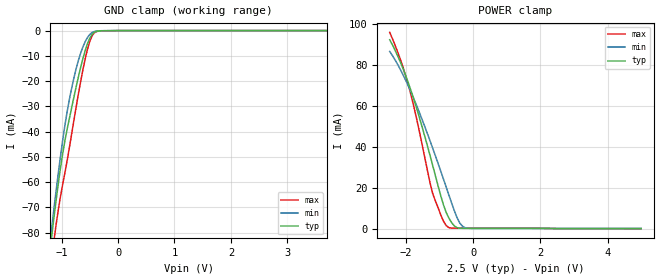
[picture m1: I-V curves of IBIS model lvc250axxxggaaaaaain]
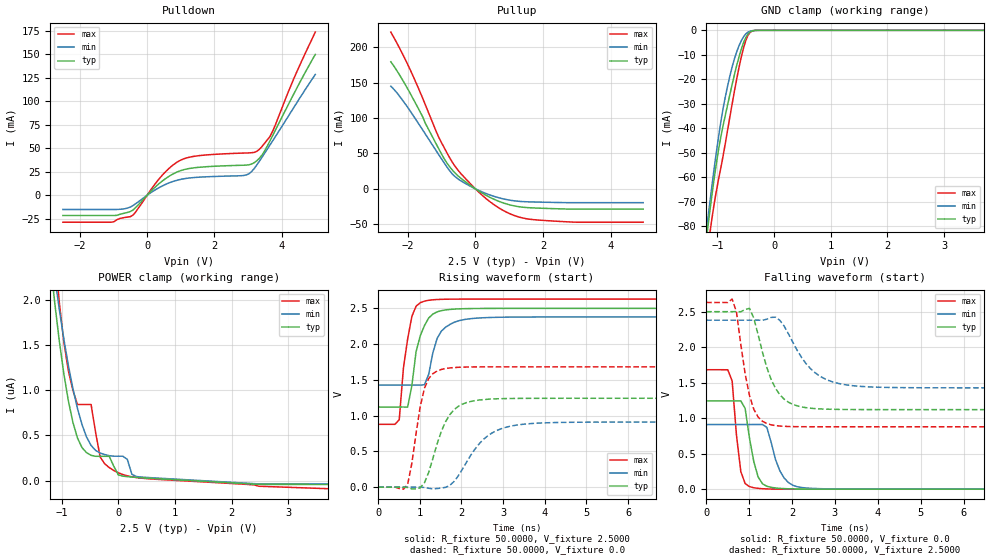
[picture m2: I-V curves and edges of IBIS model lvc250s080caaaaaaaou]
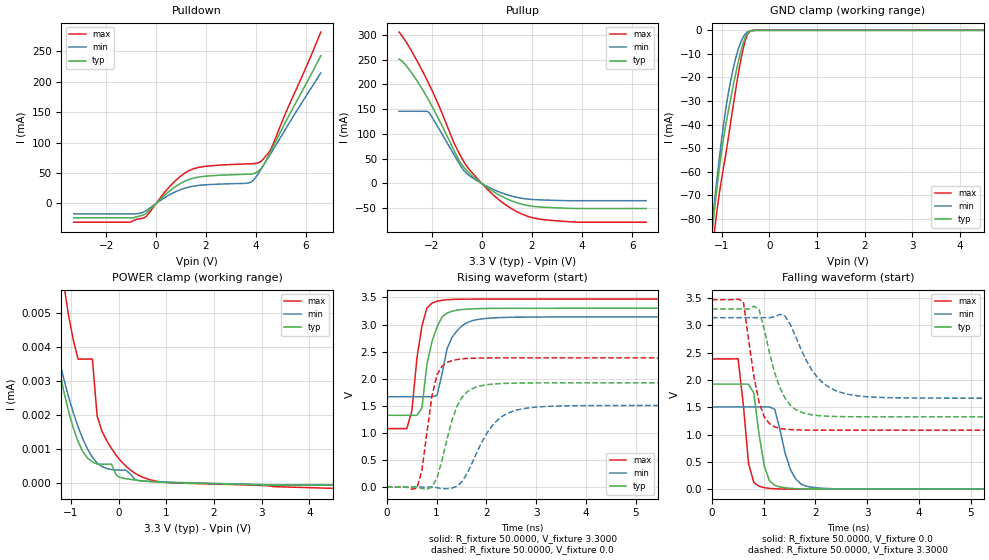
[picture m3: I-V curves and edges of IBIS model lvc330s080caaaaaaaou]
| IBIS Models Generator: Lattice Diamond (64-bit) 3.10.0.111.2
| Generate date: Tue May 01 20:01:44 2018
| IBIS File LibisMaker.ibs
| LibisGen v2.0.1.0, 02/25/2008, Lattice Semiconductor Corporation
| Modified by LibisMaker v2.0.1.0, 02/25/2008, Lattice Semiconductor
| North Carolina State University, ERL, 2006
[IBIS ver]   3.2
[File Name]   LEDshining1_LEDshining1.ibs
[File Rev]   3.4
[Date]   Wed Apr 27 17:34:17 PDT 2016
[Source]   Lattice Semiconductor cs200fl Process
   LCMXO2-1200HC   FINAL
   Lattice Semiconductor has worked hard to ensure the
   models below are accurate and complete.  However, the
   data below was generated using simulation of the
   input/output model files for the silicon.  Therefore,
   the data below is for reference and initial design
   purposes only.
   Lattice Semiconductor grants permission to use this
   data for use in printed circuit design using this
   Lattice programmable logic device.  Other use of this
   code, including the selling or duplication of any
   portion is strictly prohibited.
|   NAMING CONVENTION
   The IBIS [Model] header is limited by the specification to a
   total of characters.  With such a set of characters available
   for naming models it becomes important to attempt to
   meaningfully encode the IO standards so they fit within the
   twenty character limit.  It would seem that twenty characters
   would provide room enough for describing IO's.  However, the
   PLD IO structure continues to grow more and more complex.  The
   complexity is making the twenty characters insuffiently
   descriptive.  In order to overcome this issue the naming
   convention described below is implemented to resolve the issue.
The twenty character space is managed as follows:
   bbbvvvsdddprugtcoixx
   b = standard
   v = voltage (x.xx V)
   s = slew code
   d = drive (xx.x ma)
   p = pullup code
   r = series resistance  or bank_vccio code
   u = terminate to vcc code
   g = terminate to gnd code
   t = terminate to vtt code
   c = common mode termination mode
   o = diff resistor code
   i = diff resistor current code
   x = reserved
   standard
   lvcmos   lvc
   lvcmosd   lvd
   lvcmosr   lvr
   lvds25e   lve
   lvttl   lvt
   lvttld   ltd
   pci   pci
   sstl_I   ss1
   sstl_II   ss2
   sstld_I   s1d
   sstld_II   s2d
   hstl_i   hs1
   hstl_ii   hs2
   hstld_i   h1d
   hstld_ii   h2d
   lvds25   lvs
   blvds25   blv
   blvds25e   blv
   mlvds25   mlv
   mlvds25e   mlv
   lvpecl33   lvp
   lvpecl33e   lvp
   rsds25   rsd
   rsds25e   rse
   mipi   mip
   mipi_lp   mip
   vref1   vr1
   vref2   vr2
   ref_res   rer
   slew
   na   a
   fast   f
   slow   s
   pullmode
   off   a
   pullup   b
   pulldown   c
   bushold   d
   clamp   e
   up_clamp   f
   down_clamp   g
   keeper_clamp   h
   impedance or Bank_vccio
   off   a
   25   b
   33   c
   50   d
   100   e
   3.3   f
   2.5   g
   1.8   h
   1.5   i
   1.2   j
   termVCC
   off   a
   50   b
   100   c
   120   d
   termGND
   off   a
   50   b
   100   c
   120   d
   termVTT
   off   a
   60   b
   75   c
   120   d
   150   e
   210   f
   VCMT
   off   a
   VCMT   b
   VTT   c
   DDR-2   d
   differential resistor
   off   a
   100   b
   diff drive
   NA   a
   2.0   b
   3.5   c
   1.25   f
   2.5   g
   Reserved   IO type
   in   input only
   ou   output
   io   I/O
   od   Open drain
   on   Inverting differential I/O
   (signal name only)
   op   Non-Inverting differential I/O
   (signal name only)
   Lattice Semiconductor Corporation
   5555 NE Moore Court
   Hillsboro, OR 97214
   U.S.A
   TEL: 1-800-Lattice (USA and Canada)
   408-826-6000 (other locations)
   web: http://www.latticesemi.com/
   email: techsupport@latticesemi.com
[Disclaimer] This IBIS source code is intended as a design reference
   which illustrates how the Lattice Semiconductor device operates.
   It is the user's responsibility to verify their design for
   consistency and functionality through the use of formal
   verification methods.  Lattice Semiconductor provides no warranty
   regarding the use or functionality of this data.
[Copyright]   Copyright 2007 by Lattice Semiconductor Corporation
|   Component XO2
[Component]   XO2
[Manufacturer]   Lattice Semiconductor Corp.
[Package]
|TQFP144
| variable   typ   min   max
R_pkg   159.8m   143.8m   177.3m
L_pkg   7.50nH   6.34nH   8.65nH
C_pkg   1.22pF   1.06pF   1.38pF
[Pin] signal_name   model_name   R_pin   L_pin   C_pin
141   key[0]   lvc250axxxggaaaaaain
127   key[1]   lvc250axxxggaaaaaain
122   key[2]   lvc250axxxggaaaaaain
60   key[3]   lvc250axxxggaaaaaain
75   led[0]   lvc330s080caaaaaaaou
74   led[1]   lvc330s080caaaaaaaou
115   led[2]   lvc250s080caaaaaaaou
58   led[3]   lvc250s080caaaaaaaou
142   led[4]   lvc250s080caaaaaaaou
125   led[5]   lvc250s080caaaaaaaou
120   led[6]   lvc250s080caaaaaaaou
57   led[7]   lvc250s080caaaaaaaou
70   sw[0]   lvc250axxxggaaaaaain
69   sw[1]   lvc250axxxggaaaaaain
117   sw[2]   lvc250axxxggaaaaaain
59   sw[3]   lvc250axxxggaaaaaain
| Models and submodels in the file (3): lvc250axxxggaaaaaain (Input), lvc250s080caaaaaaaou (Output), lvc330s080caaaaaaaou (Output)
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[Model]   lvc250axxxggaaaaaain
Model_type   Input
Polarity   Non-Inverting
Enable   Active-Low
Vinl =   0.7000V
Vinh =   1.7000V
C_comp   4.2000pF   3.8000pF   7.5000pF
[Temperature Range]   25.0000   0.1050k   -40.0000
[Voltage Range]   2.5000V   2.3800V   2.6300V
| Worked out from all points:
|   GND clamp passes 1 mA (typ) near -0.44 V on its own axis
|   POWER clamp passes 1 mA (typ) near -0.53 V on its own axis
[GND_clamp]
|Voltage   I(typ)   I(min)   I(max)
-2.5V     -564.7mA   -543.1mA   -585.2mA
-1.18V    -82.37mA   -79.05mA   -91.19mA
-1.14V    -74.91mA   -71.4mA    -84.01mA
-1.1V     -67.72mA   -63.96mA   -77.3mA
-980mV    -48.69mA   -43.39mA   -60.85mA
-820mV    -30.38mA   -22.68mA   -40.71mA
-620mV    -10.92mA   -6.374mA   -15.3mA
-540mV    -5.123mA   -2.7mA     -7.317mA
-460mV    -1.524mA   -767.4uA   -2.097mA
-380mV    -292.5uA   -172.6uA   -366.3uA
20mV      0A         0A         0A
5V        0A         0A         0A
[POWER_clamp]
|Voltage   I(typ)   I(min)   I(max)
-2.48V    92.22mA    86.5mA     95.83mA
-2.16V    81.19mA    77.59mA    82.43mA
-1.84V    67mA       66.38mA    64.75mA
-1.52V    49.86mA    53.4mA     41.33mA
-1.28V    35.63mA    42.81mA    22.28mA
-1.2V     30.7mA     39.17mA    17mA
-960mV    15.93mA    27.93mA    6.582mA
-800mV    7.851mA    20.23mA    1.424mA
-560mV    1.299mA    8.796mA    199.2uA
-400mV    169.6uA    2.771mA    193.9uA
-160mV    101.6uA    144.1uA    192.3uA
5V        -4.578uA   -1.793uA   -63.13uA
[Model]   lvc250s080caaaaaaaou
Model_type   Output
Polarity   Non-Inverting
Enable   Active-Low
Vmeas =   1.2500V
Cref =   0.0F
Rref =   1.0000M
Vref =   0.0V
C_comp   4.2000pF   3.8000pF   7.5000pF
[Temperature Range]   25.0000   0.1050k   -40.0000
[Voltage Range]   2.5000V   2.3800V   2.6300V
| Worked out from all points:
|   slope of the pulldown table from 0 to 0.375 V, typ, clamps not added: 28.8 ohm
|   slope of the pullup table from 0 to 0.375 V, typ, clamps not added: 35 ohm
|   GND clamp passes 1 mA (typ) near -0.44 V on its own axis
|   rising waveform, R_fixture 50.0000, V_fixture 2.5000: 20-80 % time 286ps typ, 305ps min, 229ps max; typ from 1.12 V to 2.5 V
|   rising waveform, R_fixture 50.0000, V_fixture 0.0: 20-80 % time 465ps typ, 709ps min, 287ps max; typ from 0 V to 1.24 V
|   falling waveform, R_fixture 50.0000, V_fixture 0.0: 20-80 % time 232ps typ, 311ps min, 161ps max; typ from 1.24 V to 0 V
|   falling waveform, R_fixture 50.0000, V_fixture 2.5000: 20-80 % time 453ps typ, 672ps min, 302ps max; typ from 2.5 V to 1.12 V
[Pulldown]
|Voltage   I(typ)   I(min)   I(max)
-2.5V     -21.43mA   -15mA      -28.53mA
-1.06V    -21.43mA   -15mA      -28.53mA
-500mV    -17.29mA   -12.49mA   -22.68mA
-340mV    -13.01mA   -8.939mA   -17.7mA
460mV     15.44mA    10.15mA    21.72mA
1.1V      27.41mA    17.71mA    38.96mA
2.94V     32.22mA    21.64mA    45.09mA
3.26V     36.81mA    32.22mA    46.78mA
3.42V     43.03mA    40.73mA    52.13mA
3.74V     64.12mA    58.39mA    68.73mA
4.38V     109.2mA    94.54mA    125.7mA
5V        149.9mA    128.6mA    173.7mA
[Pullup]
|Voltage   I(typ)   I(min)   I(max)
-2.5V     179.5mA    144.9mA    221.4mA
-1.96V    137.7mA    112.2mA    171.5mA
-1.64V    109.2mA    89.19mA    137.2mA
-1.08V    56.2mA     47.99mA    72.47mA
-760mV    31.15mA    25.49mA    43.78mA
-440mV    15.37mA    11.59mA    22.04mA
40mV      -1.275mA   -931.8uA   -1.898mA
440mV     -12.3mA    -8.882mA   -18.58mA
1V        -22.45mA   -15.89mA   -34.81mA
1.56V     -26.61mA   -18.37mA   -42.65mA
2.92V     -28.69mA   -19.55mA   -47.08mA
4.96V     -28.69mA   -19.55mA   -47.14mA
[GND_clamp]
|Voltage   I(typ)   I(min)   I(max)
-2.5V     -564.7mA   -543.1mA   -585.2mA
-1.18V    -82.35mA   -79.03mA   -91.15mA
-1.14V    -74.88mA   -71.38mA   -83.96mA
-1.1V     -67.69mA   -63.94mA   -77.25mA
-980mV    -48.66mA   -43.36mA   -60.79mA
-820mV    -30.34mA   -22.65mA   -40.66mA
-700mV    -18.09mA   -11.63mA   -24.79mA
-620mV    -10.87mA   -6.335mA   -15.23mA
-540mV    -5.061mA   -2.654mA   -7.227mA
-460mV    -1.446mA   -714.8uA   -1.98mA
-300mV    -18.71uA   -15.93uA   -16.53uA
5V        0A         0A         0A
[POWER_clamp]
|Voltage   I(typ)   I(min)   I(max)
-2.48V    16.67uA    13.45uA    27.27uA
-1.2V     2.433uA    2.65uA     3.19uA
-1.12V    1.958uA    2.252uA    2.52uA
-1.04V    1.539uA    1.89uA     1.965uA
-880mV    879.3nA    1.27uA     1.211uA
-720mV    470.9nA    797.2nA    841.4nA
-480mV    279.3nA    388.4nA    841.4nA
-320mV    268.6nA    305nA      260.6nA
-160mV    268.6nA    275.3nA    144nA
0V        63.22nA    269.5nA    86.34nA
400mV     31.61nA    39.07nA    27.38nA
5V        -44.09nA   -38.33nA   -118.7nA
[Ramp]
| variable   typ   min   max
dV/dt_r  0.7610/0.4599n   0.5462/0.7020n   1.0094/0.2844n
dV/dt_f  0.8277/0.4481n   0.5716/0.6654n   1.0508/0.2990n
R_load = 50.0000
[Rising Waveform]
R_fixture=   50.0000
V_fixture=   2.5000
V_fixture_min=   2.3800
V_fixture_max=   2.6300
|time   V(typ)   V(min)   V(max)
0s        1.121V     1.427V     878.6mV
505.1ps   1.121V     1.427V     943.1mV
606.1ps   1.121V     1.427V     1.667V
707.1ps   1.119V     1.427V     2.071V
808.1ps   1.418V     1.427V     2.386V
909.1ps   1.892V     1.428V     2.53V
1.111ns   2.259V     1.432V     2.601V
1.515ns   2.468V     2.181V     2.626V
2.02ns    2.495V     2.339V     2.63V
10ns      2.5V       2.38V      2.63V
[Rising Waveform]
R_fixture=   50.0000
V_fixture=   0.0
V_fixture_min=   0.0
V_fixture_max=   0.0
|time   V(typ)   V(min)   V(max)
0s        666.9nV    899.8nV    549.6nV
707.1ps   -4.283mV   7.467uV    38.42mV
1.01ns    -9.285mV   -453.2uV   1.131V
1.111ns   62.83mV    -4.528mV   1.383V
1.515ns   778.6mV    -12.88mV   1.646V
1.717ns   1.012V     24.61mV    1.667V
2.02ns    1.16V      249.2mV    1.678V
2.525ns   1.224V     666.6mV    1.682V
3.232ns   1.24V      859.1mV    1.682V
10ns      1.243V     910.3mV    1.682V
[Falling Waveform]
R_fixture=   50.0000
V_fixture=   0.0
V_fixture_min=   0.0
V_fixture_max=   0.0
|time   V(typ)   V(min)   V(max)
0s        1.243V     910.3mV    1.682V
505.1ps   1.243V     910.3mV    1.682V
606.1ps   1.243V     910.3mV    1.524V
808.1ps   1.243V     910.4mV    247.8mV
909.1ps   1.137V     910.3mV    78.69mV
1.01ns    717.9mV    910.3mV    36.15mV
1.313ns   75.67mV    910.8mV    6.34mV
1.818ns   7.627mV    156mV      434.4uV
2.222ns   1.73mV     23.34mV    116uV
10ns      5.917uV    -6.372uV   -20.54uV
[Falling Waveform]
R_fixture=   50.0000
V_fixture=   2.5000
V_fixture_min=   2.3800
V_fixture_max=   2.6300
|time   V(typ)   V(min)   V(max)
0s        2.5V       2.38V      2.63V
606.1ps   2.5V       2.38V      2.678V
707.1ps   2.501V     2.38V      2.497V
1.01ns    2.546V     2.38V      1.319V
1.212ns   2.172V     2.381V     1.015V
1.515ns   1.545V     2.42V      905.6mV
2.02ns    1.194V     2.067V     881.4mV
2.525ns   1.135V     1.646V     879mV
3.131ns   1.123V     1.483V     878.7mV
10ns      1.121V     1.427V     878.6mV
[Model]   lvc330s080caaaaaaaou
Model_type   Output
Polarity   Non-Inverting
Enable   Active-Low
Vmeas =   1.500000V
Cref =   0.0F
Rref =   1.0000M
Vref =   0.0V
C_comp   4.2000pF   3.8000pF   7.5000pF
[Temperature Range]   25.0000   0.1050k   -40.0000
[Voltage Range]   3.3000V   3.1400V   3.4700V
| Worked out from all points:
|   slope of the pulldown table from 0 to 0.495 V, typ, clamps not added: 26 ohm
|   slope of the pullup table from 0 to 0.495 V, typ, clamps not added: 28.5 ohm
|   GND clamp passes 1 mA (typ) near -0.44 V on its own axis
|   rising waveform, R_fixture 50.0000, V_fixture 3.3000: 20-80 % time 251ps typ, 301ps min, 192ps max; typ from 1.32 V to 3.3 V
|   rising waveform, R_fixture 50.0000, V_fixture 0.0: 20-80 % time 363ps typ, 551ps min, 235ps max; typ from 0 V to 1.92 V
|   falling waveform, R_fixture 50.0000, V_fixture 0.0: 20-80 % time 188ps typ, 267ps min, 144ps max; typ from 1.92 V to 0 V
|   falling waveform, R_fixture 50.0000, V_fixture 3.3000: 20-80 % time 370ps typ, 535ps min, 253ps max; typ from 3.3 V to 1.32 V
[Pulldown]
|Voltage   I(typ)   I(min)   I(max)
-3.3V     -23.68mA   -17.2mA    -30.83mA
-1.1V     -23.68mA   -17.2mA    -30.83mA
-500mV    -18.89mA   -14.22mA   -24.07mA
-400mV    -16.44mA   -11.92mA   -21.58mA
600mV     22.43mA    15.62mA    30.22mA
1.3V      39.15mA    26.81mA    53.52mA
2V        44.82mA    30.69mA    61.1mA
3.7V      48.02mA    33.59mA    65.1mA
3.9V      48.94mA    38.13mA    65.35mA
4.2V      57.11mA    55.89mA    69.15mA
4.6V      86.19mA    82.47mA    89.45mA
6.6V      242.9mA    214.5mA    281.7mA
[Pullup]
|Voltage   I(typ)   I(min)   I(max)
-3.3V     251.3mA    145.8mA    305.6mA
-2.8V     223.5mA    145.8mA    267.3mA
-2.1V     166.4mA    143.5mA    200mA
-1.7V     127.9mA    109.7mA    155.7mA
-1.1V     65.82mA    57.34mA    80.93mA
-700mV    31.56mA    25.14mA    42.75mA
100mV     -3.836mA   -2.847mA   -5.414mA
800mV     -26.11mA   -19.07mA   -37.53mA
1.5V      -40.43mA   -28.94mA   -59.42mA
2.3V      -47.34mA   -33.02mA   -71.88mA
3.8V      -50.39mA   -34.76mA   -78.11mA
6.55V     -50.39mA   -34.76mA   -78.11mA
[GND_clamp]
|Voltage   I(typ)   I(min)   I(max)
-3.3V     -955.3mA   -930.3mA   -978mA
-1.2V     -86.18mA   -82.93mA   -94.91mA
-1.15V    -76.73mA   -73.29mA   -85.74mA
-1.1V     -67.71mA   -63.95mA   -77.28mA
-1V       -51.52mA   -46.57mA   -63.21mA
-900mV    -38.87mA   -31.88mA   -51.26mA
-800mV    -28.25mA   -20.58mA   -37.97mA
-700mV    -18.1mA    -11.63mA   -24.81mA
-600mV    -9.267mA   -5.265mA   -13.06mA
-450mV    -1.181mA   -586.6uA   -1.592mA
-250mV    -3.532uA   -4.055uA   -3.003uA
6.6V      0A         0A         0A
[POWER_clamp]
|Voltage   I(typ)   I(min)   I(max)
-3.25V    664.8uA    749.4uA    597.1uA
-1.55V    5.914uA    5.712uA    11.4uA
-1.45V    4.987uA    4.974uA    9.751uA
-1.15V    2.703uA    3.073uA    5.863uA
-850mV    1.226uA    1.662uA    3.655uA
-550mV    631.3nA    766.5nA    3.655uA
-450mV    563.6nA    595.5nA    1.977uA
-150mV    563.6nA    404.4nA    1.026uA
0V        190.5nA    391.2nA    734.7nA
450mV     79.23nA    72.94nA    213.9nA
950mV     30.32nA    38.42nA    33.55nA
6.6V      -57.56nA   -49.34nA   -232.5nA
[Ramp]
| variable   typ   min   max
dV/dt_r  1.1542/0.3590n   0.9035/0.5460n   1.4308/0.2329n
dV/dt_f  1.1855/0.3662n   0.8843/0.5297n   1.4345/0.2507n
R_load = 50.0000
[Rising Waveform]
R_fixture=   50.0000
V_fixture=   3.3000
V_fixture_min=   3.1400
V_fixture_max=   3.4700
|time   V(typ)   V(min)   V(max)
0s        1.324V     1.666V     1.079V
404ps     1.324V     1.666V     1.079V
505.1ps   1.324V     1.666V     1.407V
606.1ps   1.323V     1.666V     2.373V
707.1ps   1.46V      1.666V     2.973V
808.1ps   2.269V     1.667V     3.306V
1.01ns    2.956V     1.691V     3.43V
1.313ns   3.246V     2.765V     3.463V
1.818ns   3.293V     3.091V     3.469V
10ns      3.3V       3.14V      3.47V
[Rising Waveform]
R_fixture=   50.0000
V_fixture=   0.0
V_fixture_min=   0.0
V_fixture_max=   0.0
|time   V(typ)   V(min)   V(max)
0s        830nV      1.065uV    812.2nV
606.1ps   -647.3uV   2.343uV    -19.28mV
707.1ps   -25.56mV   18.24uV    307.2mV
909.1ps   -1.644mV   -352.6uV   1.685V
1.01ns    168.3mV    -10.05mV   2.075V
1.313ns   1.24V      -19.03mV   2.334V
1.717ns   1.816V     450.2mV    2.378V
2.121ns   1.9V       1.136V     2.384V
2.727ns   1.921V     1.444V     2.385V
10ns      1.924V     1.506V     2.385V
[Falling Waveform]
R_fixture=   50.0000
V_fixture=   0.0
V_fixture_min=   0.0
V_fixture_max=   0.0
|time   V(typ)   V(min)   V(max)
0s        1.924V     1.506V     2.385V
505.1ps   1.924V     1.506V     2.387V
707.1ps   1.923V     1.506V     469.1mV
808.1ps   1.757V     1.506V     123.1mV
1.01ns    427.9mV    1.507V     27.45mV
1.212ns   71.02mV    1.464V     7.412mV
1.414ns   24.43mV    655.3mV    2.129mV
1.616ns   9.884mV    189mV      652.9uV
1.919ns   2.628mV    35.9mV     184.5uV
10ns      -6.753uV   -8.585uV   -14.06uV
[Falling Waveform]
R_fixture=   50.0000
V_fixture=   3.3000
V_fixture_min=   3.1400
V_fixture_max=   3.4700
|time   V(typ)   V(min)   V(max)
0s        3.3V       3.14V      3.47V
606.1ps   3.3V       3.14V      3.436V
808.1ps   3.351V     3.14V      2.072V
909.1ps   3.292V     3.14V      1.597V
1.111ns   2.497V     3.138V     1.198V
1.313ns   1.855V     3.2V       1.113V
1.616ns   1.458V     2.796V     1.086V
2.02ns    1.35V      2.067V     1.08V
2.626ns   1.327V     1.737V     1.079V
10ns      1.324V     1.666V     1.079V
